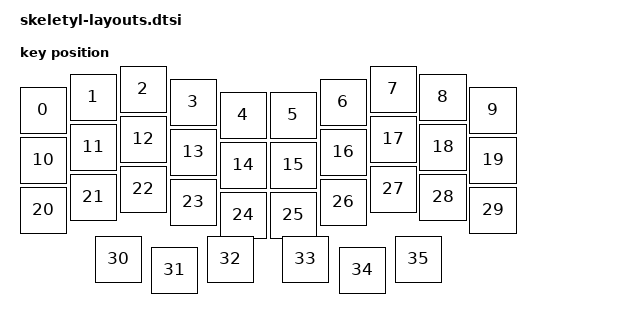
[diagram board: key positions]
#include <physical_layouts.dtsi>

/ {
    skeletyl_layout: skeletyl_layout {
        compatible = "zmk,physical-layout";
        display-name = "Skeletyl";
        transform = <&default_transform>;
        keys  //                     w   h    x    y     rot    rx    ry
            /* Row 0 */
            = <&key_physical_attrs 100 100    0   42       0     0     0>  /* RC(0,0) pinky L */
            , <&key_physical_attrs 100 100  100   16       0     0     0>  /* RC(0,1) ring L */
            , <&key_physical_attrs 100 100  200    0       0     0     0>  /* RC(0,2) middle L */
            , <&key_physical_attrs 100 100  300   26       0     0     0>  /* RC(0,3) index L */
            , <&key_physical_attrs 100 100  400   52       0     0     0>  /* RC(0,4) inner L */
            , <&key_physical_attrs 100 100  500   52       0     0     0>  /* RC(0,5) inner R */
            , <&key_physical_attrs 100 100  600   26       0     0     0>  /* RC(0,6) index R */
            , <&key_physical_attrs 100 100  700    0       0     0     0>  /* RC(0,7) middle R */
            , <&key_physical_attrs 100 100  800   16       0     0     0>  /* RC(0,8) ring R */
            , <&key_physical_attrs 100 100  900   42       0     0     0>  /* RC(0,9) pinky R */
            /* Row 1 */
            , <&key_physical_attrs 100 100    0  142       0     0     0>  /* RC(1,0) */
            , <&key_physical_attrs 100 100  100  116       0     0     0>  /* RC(1,1) */
            , <&key_physical_attrs 100 100  200  100       0     0     0>  /* RC(1,2) */
            , <&key_physical_attrs 100 100  300  126       0     0     0>  /* RC(1,3) */
            , <&key_physical_attrs 100 100  400  152       0     0     0>  /* RC(1,4) */
            , <&key_physical_attrs 100 100  500  152       0     0     0>  /* RC(1,5) */
            , <&key_physical_attrs 100 100  600  126       0     0     0>  /* RC(1,6) */
            , <&key_physical_attrs 100 100  700  100       0     0     0>  /* RC(1,7) */
            , <&key_physical_attrs 100 100  800  116       0     0     0>  /* RC(1,8) */
            , <&key_physical_attrs 100 100  900  142       0     0     0>  /* RC(1,9) */
            /* Row 2 */
            , <&key_physical_attrs 100 100    0  242       0     0     0>  /* RC(2,0) */
            , <&key_physical_attrs 100 100  100  216       0     0     0>  /* RC(2,1) */
            , <&key_physical_attrs 100 100  200  200       0     0     0>  /* RC(2,2) */
            , <&key_physical_attrs 100 100  300  226       0     0     0>  /* RC(2,3) */
            , <&key_physical_attrs 100 100  400  252       0     0     0>  /* RC(2,4) */
            , <&key_physical_attrs 100 100  500  252       0     0     0>  /* RC(2,5) */
            , <&key_physical_attrs 100 100  600  226       0     0     0>  /* RC(2,6) */
            , <&key_physical_attrs 100 100  700  200       0     0     0>  /* RC(2,7) */
            , <&key_physical_attrs 100 100  800  216       0     0     0>  /* RC(2,8) */
            , <&key_physical_attrs 100 100  900  242       0     0     0>  /* RC(2,9) */
            /* Thumbs (transform order: RC(3,2) RC(3,3) RC(3,0)  RC(3,9) RC(3,6) RC(3,7)) */
            , <&key_physical_attrs 100 100  150  340       0     0     0>  /* RC(3,2) outer-L thumb */
            , <&key_physical_attrs 100 100  262  362       0     0     0>  /* RC(3,3) mid-L thumb */
            , <&key_physical_attrs 100 100  375  340       0     0     0>  /* RC(3,0) inner-L thumb */
            , <&key_physical_attrs 100 100  525  340       0     0     0>  /* RC(3,9) inner-R thumb */
            , <&key_physical_attrs 100 100  638  362       0     0     0>  /* RC(3,6) mid-R thumb */
            , <&key_physical_attrs 100 100  750  340       0     0     0>  /* RC(3,7) outer-R thumb */
            ;
    };
};
